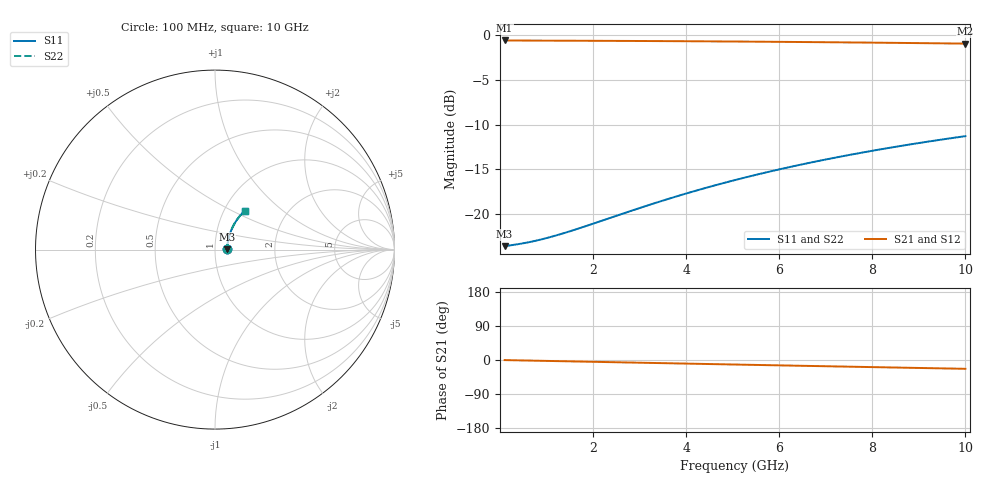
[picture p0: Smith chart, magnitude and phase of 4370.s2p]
# Hz S RI R 50.00
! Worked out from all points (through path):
!   100 points, 100 MHz to 10 GHz, reference 50 ohm
!   highest |S21| = -0.60 dB at 100 MHz (marker M1); lowest = -0.9 dB at 10 GHz (marker M2)
!   group delay of S21, straight-line fit = 6.47 ps
!   lowest |S11| = -23.6 dB at 100 MHz (marker M3), VSWR 1.14, Z = 57.1 + j0.289 ohm
!   |S11| at or under -10 dB: start of sweep to end of sweep
!   |S22| runs from -23.6 to -11.3 dB; largest |S21 - S12| = 0
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1e8  0.0663 0.00252  0.9337 -0.00389  0.9337 -0.00389  0.0663 0.00252
5e8  0.0677 0.0126  0.9322 -0.0194  0.9322 -0.0194  0.0677 0.0126
7e8  0.0683 0.0176  0.9316 -0.0272  0.9316 -0.0272  0.0683 0.0176
9e8  0.0689 0.0226  0.931 -0.0349  0.931 -0.0349  0.0689 0.0226
1.1e9  0.0696 0.0276  0.9303 -0.0426  0.9303 -0.0426  0.0696 0.0276
1.3e9  0.0703 0.0325  0.9295 -0.0503  0.9295 -0.0503  0.0703 0.0325
1.8e9  0.0723 0.0449  0.9273 -0.0695  0.9273 -0.0695  0.0723 0.0449
2.8e9  0.0777 0.0693  0.9215 -0.1076  0.9215 -0.1076  0.0777 0.0693
3.4e9  0.0819 0.0836  0.917 -0.1301  0.917 -0.1301  0.0819 0.0836
3.8e9  0.085 0.093  0.9136 -0.145  0.9136 -0.145  0.085 0.093
4.2e9  0.0884 0.1023  0.9099 -0.1598  0.9099 -0.1598  0.0884 0.1023
4.6e9  0.0921 0.1114  0.9058 -0.1744  0.9058 -0.1744  0.0921 0.1114
5.1e9  0.0971 0.1227  0.9004 -0.1925  0.9004 -0.1925  0.0971 0.1227
5.5e9  0.1014 0.1314  0.8956 -0.2068  0.8956 -0.2068  0.1014 0.1314
5.9e9  0.106 0.1401  0.8906 -0.2209  0.8906 -0.2209  0.106 0.1401
6.3e9  0.1108 0.1485  0.8853 -0.2348  0.8853 -0.2348  0.1108 0.1485
6.7e9  0.1159 0.1567  0.8797 -0.2485  0.8797 -0.2485  0.1159 0.1567
7.5e9  0.1268 0.1726  0.8677 -0.2754  0.8677 -0.2754  0.1268 0.1726
7.9e9  0.1326 0.1802  0.8613 -0.2886  0.8613 -0.2886  0.1326 0.1802
8.4e9  0.1401 0.1894  0.8529 -0.3047  0.8529 -0.3047  0.1401 0.1894
9.2e9  0.1529 0.2034  0.8388 -0.3297  0.8388 -0.3297  0.1529 0.2034
1e10  0.1663 0.2165  0.8239 -0.3538  0.8239 -0.3538  0.1663 0.2165
